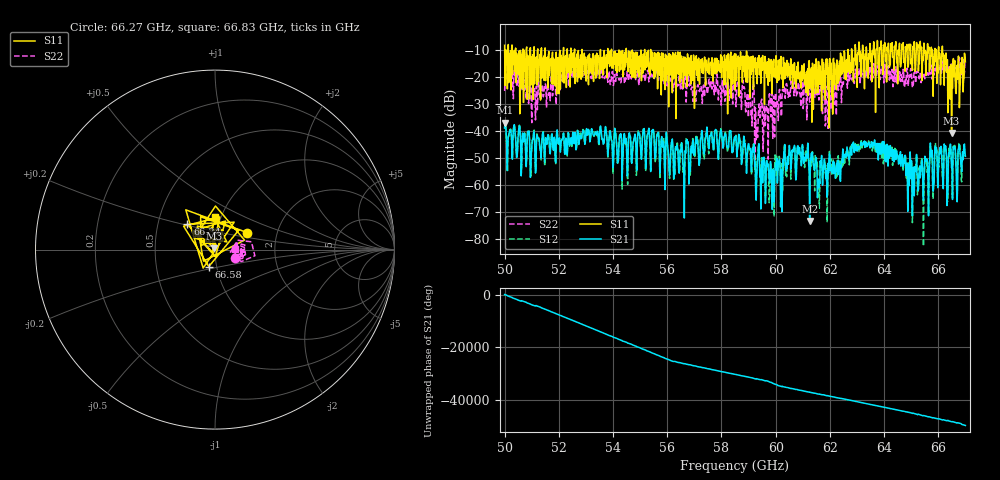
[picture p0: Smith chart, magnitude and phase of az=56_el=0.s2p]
!Created with skrf (http://scikit-rf.org).
# GHz S RI R 50.0
!freq ReS11 ImS11 ReS21 ImS21 ReS12 ImS12 ReS22 ImS22
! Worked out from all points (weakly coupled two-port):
!   1001 points, 50 GHz to 67 GHz, reference 50 ohm
!   highest |S21| = -36.94 dB at 50.02 GHz (marker M1); lowest = -73.4 dB at 61.25 GHz (marker M2)
!   lowest |S11| = -40.7 dB at 66.49 GHz (marker M3), VSWR 1.02, Z = 49.6 + j0.813 ohm
!   |S11| at or under -10 dB: 51.5 GHz to 52.17 GHz (673.4 MHz wide, 1.3 % of centre); 55.39 GHz to 62.66 GHz (7.275 GHz wide, 12.3 % of centre); 66.16 GHz to end of sweep (the widest 3 of 57)
!   |S22| runs from -54.3 to -13.0 dB; largest |S21 - S12| = 0.0022
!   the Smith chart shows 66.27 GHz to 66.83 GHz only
!   S11 on the Smith chart (normalised r, x): 66.27 GHz: 1.40, +0.28; 66.34 GHz: 0.71, +0.21; 66.58 GHz: 0.92, -0.18; 66.83 GHz: 0.93, +0.35
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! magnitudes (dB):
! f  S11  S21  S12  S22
! 50 GHz  -8.3  -39.0  -38.8  -25.2
! 50.02 GHz  -23.2  -36.9  -36.9  -20.8
! 51.07 GHz  -10.5  -40.6  -40.9  -26.4
! 52.84 GHz  -12.8  -42.8  -42.7  -19.6
! 55.68 GHz  -13.2  -40.6  -40.7  -21.4
! 56.6 GHz  -24.1  -53.6  -53.6  -24.0
! 57.51 GHz  -13.6  -43.9  -46.0  -23.5
! 58.5 GHz  -24.8  -43.3  -42.7  -23.6
! 59.11 GHz  -12.5  -55.2  -56.3  -33.8
! 59.32 GHz  -22.5  -54.4  -51.1  -39.0
! 59.86 GHz  -26.3  -59.3  -60.0  -26.0
! 60.34 GHz  -14.8  -45.1  -44.8  -25.3
! 61.25 GHz  -24.3  -73.4  -61.8  -29.3
! 61.34 GHz  -36.8  -50.7  -50.4  -25.4
! 64.18 GHz  -12.1  -46.1  -47.0  -17.3
! 65.08 GHz  -9.8  -53.4  -56.9  -22.8
! 66.27 GHz  -13.9  -45.6  -45.9  -18.4
! 66.34 GHz  -13.6  -63.8  -66.3  -17.4
! 66.49 GHz  -40.7  -53.6  -51.5  -15.3
! 66.58 GHz  -19.9  -46.7  -46.4  -15.8
! 66.83 GHz  -14.9  -51.7  -50.8  -19.2
! 67 GHz  -14.4  -49.4  -49.1  -14.2
